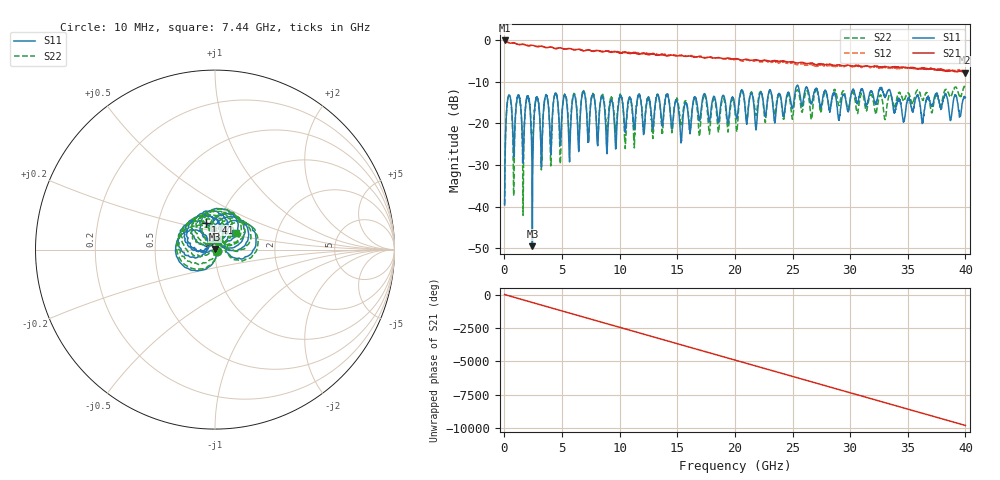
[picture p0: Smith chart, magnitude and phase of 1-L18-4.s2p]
! 2/21/2025 7:04:07 AM
! Z:\OQC\AD5\613\LOT-141-0825\SINGLE\1-L18-4.S2P
! CHANNEL.1
! TR.MEASUREMENT
! CORRECTED.DATA
! RF.CORRECTION: FULL.FOUR.PORT.CAL.PORT.1.2.3.4
! AVERAGING.OFF
! IF.BANDWIDTH: 1KHZ
! SWEEPTYPE:  FREQ.SWEEP(Linear)
! Reference Plane Port Info
! PORT:  PORT1  PORT2
! DISTANCE:  0  m  0  m
! TIME:  0  s  0  s
! PHASE.OFFSET:  0 °  0 °
! LOSS:  0  dB  0  dB
! REF.LOSS:  0  dB  0  dB
! REF.FREQ:  0  Hz  0  Hz
! Power Info
! POWER:  -10  dBm  -10  dBm
! EFF.POWER:  -10  dBm  -10  dBm
! SOURCE.ATTEN:  0  dB  0  dB
! TEST.ATTEN:  0  dB  0  dB
# GHZ S RI R 50.0
! FREQ.GHZ  S11RE  S11IM  S21RE  S21IM  S12RE  S12IM  S22RE  S22IM
!; PortSelection: Port_12
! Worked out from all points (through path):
!   4000 points, 10 MHz to 40 GHz, reference 50 ohm
!   highest |S21| = -0.08 dB at 10 MHz (marker M1); lowest = -7.8 dB at 39.93 GHz (marker M2)
!   group delay of S21, straight-line fit = 680 ps
!   lowest |S11| = -49.5 dB at 2.42 GHz (marker M3), VSWR 1.01, Z = 49.9 + j0.3 ohm
!   |S11| at or under -10 dB: start of sweep to end of sweep
!   |S22| runs from -42.1 to -10.9 dB; largest |S21 - S12| = 0.039
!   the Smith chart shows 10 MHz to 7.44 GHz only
!   S11 on the Smith chart (normalised r, x): 10 MHz: 1.02, -0.01; 1.41 GHz: 0.86, +0.27; 7.44 GHz: 1.23, +0.24
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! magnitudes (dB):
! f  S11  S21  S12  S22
! 10 MHz  -39.6  -0.1  -0.1  -39.6
! 350 MHz  -13.4  -0.6  -0.6  -13.6
! 770 MHz  -25.7  -0.7  -0.7  -30.2
! 1.41 GHz  -15.9  -1.0  -1.0  -16.3
! 1.66 GHz  -25.4  -1.0  -1.0  -28.5
! 2.05 GHz  -13.7  -1.3  -1.4  -13.5
! 2.42 GHz  -49.5  -1.2  -1.2  -26.6
! 2.79 GHz  -13.8  -1.6  -1.5  -13.9
! 3.2 GHz  -29.6  -1.5  -1.5  -31.2
! 3.6 GHz  -13.2  -1.8  -1.8  -13.4
! 4.01 GHz  -26.7  -1.7  -1.7  -30.2
! 4.42 GHz  -12.8  -2.1  -1.9  -12.8
! 4.84 GHz  -25.3  -1.9  -1.8  -29.8
! 6.68 GHz  -14.2  -2.4  -2.4  -13.9
! 7.44 GHz  -16.7  -2.5  -2.4  -16.6
! 13.34 GHz  -13.3  -3.6  -3.5  -13.4
! 15.33 GHz  -24.3  -3.7  -3.6  -20.7
! 20.01 GHz  -16.6  -4.5  -4.7  -17.4
! 26.67 GHz  -15.0  -5.5  -5.8  -18.6
! 33.34 GHz  -12.0  -6.5  -6.7  -13.6
! 39.93 GHz  -13.5  -7.8  -7.3  -11.1
! 40 GHz  -13.8  -7.8  -7.3  -10.9
